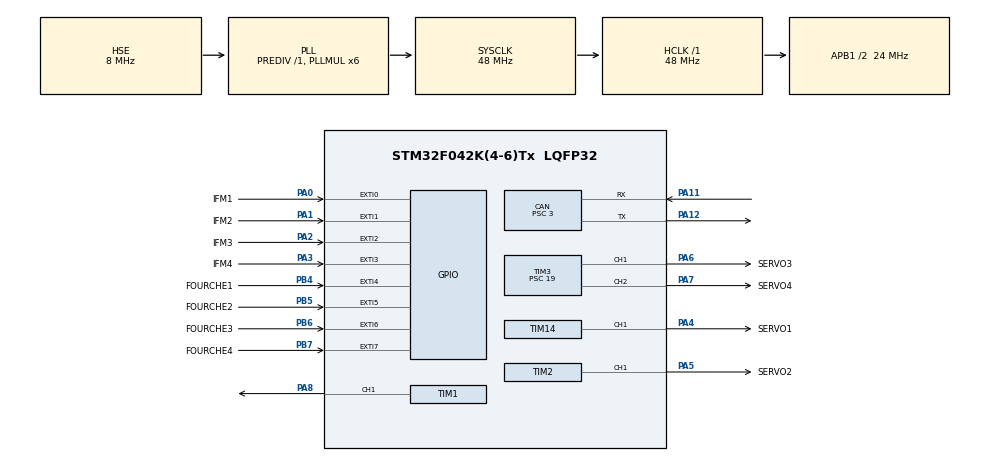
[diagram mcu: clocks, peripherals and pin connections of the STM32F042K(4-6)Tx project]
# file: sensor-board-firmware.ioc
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CAN.BS1=CAN_BS1_13TQ
CAN.BS2=CAN_BS2_2TQ
CAN.CalculateTimeQuantum=125.0
CAN.Prescaler=3
Mcu.Family=STM32F0
Mcu.Name=STM32F042K(4-6)Tx
Mcu.Package=LQFP32
NVIC.CEC_CAN_IRQn=true\:0\:0\:false\:false\:true\:true\:true
NVIC.EXTI0_1_IRQn=true\:0\:0\:false\:false\:true\:true\:true
NVIC.EXTI2_3_IRQn=true\:0\:0\:false\:false\:true\:true\:true
NVIC.EXTI4_15_IRQn=true\:0\:0\:false\:false\:true\:true\:true
PA0.GPIO_Label=IFM1
PA0.GPIO_PuPd=GPIO_NOPULL
PA0.Signal=GPXTI0
PA1.GPIO_Label=IFM2
PA1.Signal=GPXTI1
PA11.Mode=Master
PA11.Signal=CAN_RX
PA12.Mode=Master
PA12.Signal=CAN_TX
PA13.Mode=Serial_Wire
PA13.Signal=SYS_SWDIO
PA14.Mode=Serial_Wire
PA14.Signal=SYS_SWCLK
PA2.GPIO_Label=IFM3
PA2.Signal=GPXTI2
PA3.GPIO_Label=IFM4
PA3.Signal=GPXTI3
PA4.GPIO_Label=SERVO1
PA4.Signal=S_TIM14_CH1
PA5.GPIO_Label=SERVO2
PA5.Signal=S_TIM2_CH1_ETR
PA6.GPIO_Label=SERVO3
PA6.Signal=S_TIM3_CH1
PA7.GPIO_Label=SERVO4
PA7.Signal=S_TIM3_CH2
PA8.Signal=S_TIM1_CH1
PB4.GPIO_Label=FOURCHE1
PB4.Signal=GPXTI4
PB5.GPIO_Label=FOURCHE2
PB5.Signal=GPXTI5
PB6.GPIO_Label=FOURCHE3
PB6.Signal=GPXTI6
PB7.GPIO_Label=FOURCHE4
PB7.Signal=GPXTI7
PF0-OSC_IN.Mode=HSE-External-Oscillator
PF0-OSC_IN.Signal=RCC_OSC_IN
PF1-OSC_OUT.Mode=HSE-External-Oscillator
PF1-OSC_OUT.Signal=RCC_OSC_OUT
ProjectManager.HeapSize=0x200
ProjectManager.StackSize=0x400
ProjectManager.TargetToolchain=Makefile
RCC.AHBFreq_Value=48000000
RCC.APB1CLKDivider=RCC_HCLK_DIV2
RCC.APB1Freq_Value=24000000
RCC.APB1TimFreq_Value=48000000
RCC.HCLKFreq_Value=48000000
RCC.PLLMUL=RCC_PLL_MUL6
RCC.PLLSourceVirtual=RCC_PLLSOURCE_HSE
RCC.SYSCLKFreq_VALUE=48000000
RCC.SYSCLKSource=RCC_SYSCLKSOURCE_PLLCLK
SH.S_TIM14_CH1.0=TIM14_CH1,PWM Generation1 CH1
SH.S_TIM1_CH1.0=TIM1_CH1,PWM Generation1 CH1
SH.S_TIM2_CH1_ETR.0=TIM2_CH1,PWM Generation1 CH1
SH.S_TIM3_CH1.0=TIM3_CH1,PWM Generation1 CH1
SH.S_TIM3_CH2.0=TIM3_CH2,PWM Generation2 CH2
TIM1.Channel-PWM\ Generation1\ CH1=TIM_CHANNEL_1
TIM14.Channel=TIM_CHANNEL_1
TIM14.Period=1000
TIM14.Prescaler=19
TIM14.Pulse=500
TIM2.Channel-PWM\ Generation1\ CH1=TIM_CHANNEL_1
TIM2.ClockDivision=TIM_CLOCKDIVISION_DIV2
TIM2.Period=1000
TIM2.Prescaler=19
TIM2.Pulse-PWM\ Generation1\ CH1=500
TIM2.TIM_MasterOutputTrigger=TIM_TRGO_OC1REF
TIM3.Channel-PWM\ Generation1\ CH1=TIM_CHANNEL_1
TIM3.Channel-PWM\ Generation2\ CH2=TIM_CHANNEL_2
TIM3.Period=1000
TIM3.Prescaler=19
TIM3.Pulse-PWM\ Generation1\ CH1=500
VP_TIM14_VS_ClockSourceINT.Mode=Enable_Timer
VP_TIM1_VS_ClockSourceINT.Mode=Internal
board=custom

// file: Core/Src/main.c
/* USER CODE BEGIN Header */
/**
 ******************************************************************************
 * @file           : main.c
 * @brief          : PCB capteurs 4 servo+4 IFMsensor + 2 fourche optique +can bus
 * 						all in interrupts
 ******************************************************************************
 * @attention
 *
 * <h2><center>&copy; Copyright (c) 2020 STMicroelectronics.
 * All rights reserved.</center></h2>
 *
 * This software component is licensed by ST under BSD 3-Clause license,
 * the "License"; You may not use this file except in compliance with the
 * License. You may obtain a copy of the License at:
 *                        opensource.org/licenses/BSD-3-Clause
 *
 ******************************************************************************
 */
/* USER CODE END Header */
#include "main.h"
#include "can.h"
#include "tim.h"
#include "gpio.h"

/* USER CODE BEGIN PV */
CAN_TxHeaderTypeDef Txheader;
CAN_RxHeaderTypeDef Rxheader;
CAN_FilterTypeDef filter;
uint8_t Rxmsg[8];
uint32_t TxMailbox;
uint8_t msg[8];
uint32_t TimeOld;
uint32_t TimeNew;
/* USER CODE END PV */

void SystemClock_Config(void);
/* USER CODE BEGIN PFP */
static void ServoArr(uint8_t servo, uint8_t angle);
static void ServoCot(uint8_t servo, uint8_t angle);
static void Drapeau();
void HAL_CAN_RxFifo1MsgPendingCallback(CAN_HandleTypeDef *hcan);
void HAL_CAN_RxFifo0MsgPendingCallback(CAN_HandleTypeDef *hcan);
void HAL_GPIO_EXTI_Callback(uint16_t Pin);
/* USER CODE END PFP */

/* USER CODE BEGIN 0 */
static void ServoArr(uint8_t servo, uint8_t angle){

	switch(servo){
	case 'd':
		if(angle=='h'){
			__HAL_TIM_SET_COMPARE(&htim2,TIM_CHANNEL_1,23);
		}

		if(angle=='b'){
			__HAL_TIM_SET_COMPARE(&htim2,TIM_CHANNEL_1,55);
		}
		break;

	}

}

static void ServoCot(uint8_t servo, uint8_t angle){

	switch(servo){
	case 'd':
		if(angle=='h')
		{
			__HAL_TIM_SET_COMPARE(&htim3,TIM_CHANNEL_1,96);//56 bas
		}
		if(angle=='b'){
			__HAL_TIM_SET_COMPARE(&htim3,TIM_CHANNEL_1,56);// 70 haut
		}

		break;
	case 'g':
		if(angle=='h'){
			__HAL_TIM_SET_COMPARE(&htim3,TIM_CHANNEL_2,70);
		}

		if(angle=='b'){
			__HAL_TIM_SET_COMPARE(&htim3,TIM_CHANNEL_2,105);
		}

		break;

	}

}

static void Drapeau()
{
	HAL_TIM_PWM_Start(&htim2, TIM_CHANNEL_1);
	__HAL_TIM_SET_COMPARE(&htim2,TIM_CHANNEL_1,65);
	while(HAL_GPIO_ReadPin(FOURCHE3_GPIO_Port,FOURCHE3_Pin)==1);
	HAL_Delay(5);
	HAL_TIM_PWM_Stop(&htim2, TIM_CHANNEL_1);
}

/* USER CODE END 0 */

int main(void)
{

  /* MCU Configuration--------------------------------------------------------*/

  /* Reset of all peripherals, Initializes the Flash interface and the Systick. */
  HAL_Init();

  /* Configure the system clock */
  SystemClock_Config();

  /* Initialize all configured peripherals */
  MX_GPIO_Init();
  MX_CAN_Init();
  MX_TIM1_Init();
  MX_TIM2_Init();
  MX_TIM3_Init();
  MX_TIM14_Init();
  /* USER CODE BEGIN 2 */
	HAL_Delay(10);
	HAL_CAN_MspInit(&hcan);
	HAL_Delay(10);
	HAL_TIM_Base_Start(&htim2);
	HAL_Delay(10);
	//HAL_TIM_PWM_Start(&htim2, TIM_CHANNEL_1);
	//__HAL_TIM_SET_COMPARE(&htim2,TIM_CHANNEL_1,106);//servo arrière gauche
	HAL_Delay(10);
	HAL_TIM_Base_Start(&htim14);
	HAL_Delay(10);
	HAL_TIM_PWM_Start(&htim14, TIM_CHANNEL_1);
	__HAL_TIM_SET_COMPARE(&htim14,TIM_CHANNEL_1,106);// arrière droite, 106 haut 56 bas
	HAL_Delay(10);
	HAL_TIM_Base_Start(&htim3);
	HAL_Delay(10);
	HAL_TIM_PWM_Start(&htim3, TIM_CHANNEL_1);
	//__HAL_TIM_SET_COMPARE(&htim3,TIM_CHANNEL_1,106); //coté gauche
	HAL_Delay(10);
	HAL_TIM_PWM_Start(&htim3, TIM_CHANNEL_2);
	//__HAL_TIM_SET_COMPARE(&htim3,TIM_CHANNEL_2,56); //coté droit 56 pour sortie

  /* USER CODE END 2 */

  /* Infinite loop */
  /* USER CODE BEGIN WHILE */
	while (1)
	{
		HAL_CAN_GetRxMessage(&hcan, CAN_RX_FIFO0, &Rxheader,Rxmsg);

		msg[0]=Rxmsg[0];
		msg[1]=Rxmsg[1];
		msg[2]=Rxmsg[2];
		msg[3]=Rxmsg[3];
		msg[4]=Rxmsg[4];
		msg[5]=Rxmsg[5];
		msg[6]=Rxmsg[6];
		msg[7]=Rxmsg[7];

		if(msg[0]=='H'&&msg[1]=='b')
			ServoArr(msg[2], msg[3]);
		if(msg[0]=='S'&&msg[1]=='c')
			ServoCot(msg[2], msg[3]);
		if(msg[0]=='D'&&msg[1]=='p')
			Drapeau();

		HAL_CAN_GetRxMessage(&hcan, CAN_RX_FIFO1, &Rxheader,Rxmsg);

		msg[0]=Rxmsg[0];
		msg[1]=Rxmsg[1];
		msg[2]=Rxmsg[2];
		msg[3]=Rxmsg[3];
		msg[4]=Rxmsg[4];
		msg[5]=Rxmsg[5];
		msg[6]=Rxmsg[6];
		msg[7]=Rxmsg[7];

		if(msg[0]=='H'&&msg[1]=='b')
			ServoArr(msg[2], msg[3]);
		if(msg[0]=='S'&&msg[1]=='c')
			ServoCot(msg[2], msg[3]);
		if(msg[0]=='D'&&msg[1]=='p')
			Drapeau();

    /* USER CODE END WHILE */

	}
}

void SystemClock_Config(void)
{
  RCC_OscInitTypeDef RCC_OscInitStruct = {0};
  RCC_ClkInitTypeDef RCC_ClkInitStruct = {0};

  /** Initializes the RCC Oscillators according to the specified parameters
  * in the RCC_OscInitTypeDef structure.
  */
  RCC_OscInitStruct.OscillatorType = RCC_OSCILLATORTYPE_HSE;
  RCC_OscInitStruct.HSEState = RCC_HSE_ON;
  RCC_OscInitStruct.PLL.PLLState = RCC_PLL_ON;
  RCC_OscInitStruct.PLL.PLLSource = RCC_PLLSOURCE_HSE;
  RCC_OscInitStruct.PLL.PLLMUL = RCC_PLL_MUL6;
  RCC_OscInitStruct.PLL.PREDIV = RCC_PREDIV_DIV1;
  if (HAL_RCC_OscConfig(&RCC_OscInitStruct) != HAL_OK)
  {
    Error_Handler();
  }
  /** Initializes the CPU, AHB and APB buses clocks
  */
  RCC_ClkInitStruct.ClockType = RCC_CLOCKTYPE_HCLK|RCC_CLOCKTYPE_SYSCLK
                              |RCC_CLOCKTYPE_PCLK1;
  RCC_ClkInitStruct.SYSCLKSource = RCC_SYSCLKSOURCE_PLLCLK;
  RCC_ClkInitStruct.AHBCLKDivider = RCC_SYSCLK_DIV1;
  RCC_ClkInitStruct.APB1CLKDivider = RCC_HCLK_DIV2;

  if (HAL_RCC_ClockConfig(&RCC_ClkInitStruct, FLASH_LATENCY_1) != HAL_OK)
  {
    Error_Handler();
  }
}

/* USER CODE BEGIN 4 */
void HAL_CAN_RxFifo0MsgPendingCallback(CAN_HandleTypeDef *hcan){
	HAL_CAN_GetRxMessage(hcan, CAN_RX_FIFO0, &Rxheader,Rxmsg);
	uint8_t msg[8];
	msg[0]=Rxmsg[0];
	msg[1]=Rxmsg[1];
	msg[2]=Rxmsg[2];
	msg[3]=Rxmsg[3];
	msg[4]=Rxmsg[4];
	msg[5]=Rxmsg[5];
	msg[6]=Rxmsg[6];
	msg[7]=Rxmsg[7];

	if(msg[0]=='H'&&msg[1]=='b')
		ServoArr(msg[2], msg[3]);
	if(msg[0]=='S'&&msg[1]=='c')
		ServoCot(msg[2], msg[3]);
	if(msg[0]=='D'&&msg[1]=='p')
		Drapeau();
}
void HAL_CAN_RxFifo1MsgPendingCallback(CAN_HandleTypeDef *hcan){
	HAL_CAN_GetRxMessage(hcan, CAN_RX_FIFO1, &Rxheader,Rxmsg);
	uint8_t msg[8];
	msg[0]=Rxmsg[0];
	msg[1]=Rxmsg[1];
	msg[2]=Rxmsg[2];
	msg[3]=Rxmsg[3];
	msg[4]=Rxmsg[4];
	msg[5]=Rxmsg[5];
	msg[6]=Rxmsg[6];
	msg[7]=Rxmsg[7];

	if(msg[0]=='H'&&msg[1]=='b')
		ServoArr(msg[2], msg[3]);
	if(msg[0]=='S'&&msg[1]=='c')
		ServoCot(msg[2], msg[3]);
	if(msg[0]=='D'&&msg[1]=='p')
		Drapeau();
}

void HAL_GPIO_EXTI_Callback(uint16_t Pin){// rajouter anti double message
	uint8_t msg[8];
	TimeNew=HAL_GetTick();
	if((TimeNew-TimeOld)>50){
		switch(Pin){
		case IFM1_Pin:
			msg[0]='R';// I pour indication
			msg[1]='r';// r pour recalage
			msg[2]='r';// r pour arrière (v pour avant)
			msg[3]='g';// d pour droite (g pour gauche)
			HAL_CAN_AddTxMessage(&hcan, &Txheader, msg, &TxMailbox);
			TimeOld=HAL_GetTick();
			break;
		case IFM2_Pin:
			msg[0]='R';// I pour indication
			msg[1]='r';// r pour recalage
			msg[2]='r';// r pour arrière (v pour avant)
			msg[3]='d';// d pour droite (g pour gauche)
			HAL_CAN_AddTxMessage(&hcan, &Txheader, msg, &TxMailbox);
			TimeOld=HAL_GetTick();
			break;
		case IFM3_Pin:
			msg[0]='R';// I pour indication
			msg[1]='r';// r pour recalage
			msg[2]='v';// r pour arrière (v pour avant)
			msg[3]='g';// d pour droite (g pour gauche)
			HAL_CAN_AddTxMessage(&hcan, &Txheader, msg, &TxMailbox);
			TimeOld=HAL_GetTick();
			break;
		case IFM4_Pin:
			msg[0]='R';// I pour indication
			msg[1]='r';// r pour recalage
			msg[2]='v';// r pour arrière (v pour avant)
			msg[3]='d';// d pour droite (g pour gauche)
			HAL_CAN_AddTxMessage(&hcan, &Txheader, msg, &TxMailbox);
			TimeOld=HAL_GetTick();
			break;
		case FOURCHE1_Pin: //Drapeau haut
			msg[0]='R';// I pour indication
			msg[1]='d';// drapeau
			msg[2]='h';// h pour haut b pour bas
			HAL_CAN_AddTxMessage(&hcan, &Txheader, msg, &TxMailbox);
			TimeOld=HAL_GetTick();
			break;
		case FOURCHE2_Pin://drapeau bas
			msg[0]='R';// I pour indication
			msg[1]='d';// drapeau
			msg[2]='b';// h pour haut b pour bas
			HAL_CAN_AddTxMessage(&hcan, &Txheader, msg, &TxMailbox);
			TimeOld=HAL_GetTick();
			break;
		}
	}

}
/* USER CODE END 4 */

void Error_Handler(void)
{
}

/************************ (C) COPYRIGHT STMicroelectronics *****END OF FILE****/
